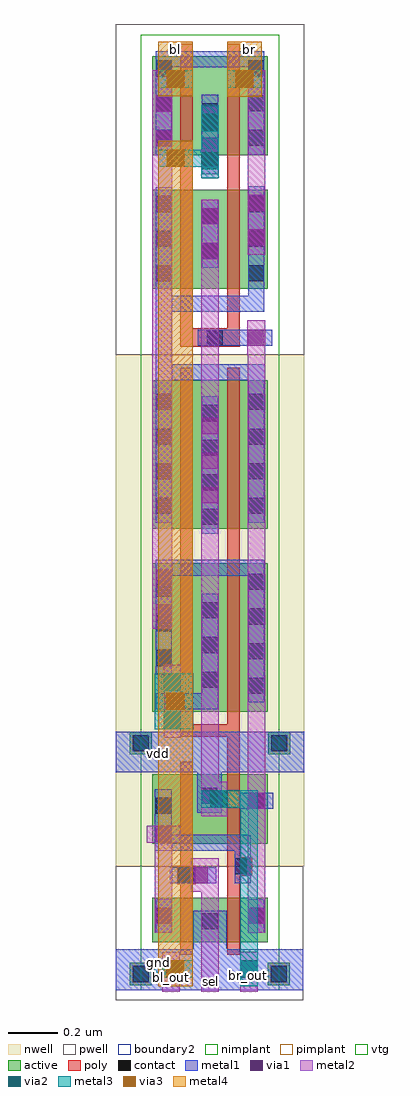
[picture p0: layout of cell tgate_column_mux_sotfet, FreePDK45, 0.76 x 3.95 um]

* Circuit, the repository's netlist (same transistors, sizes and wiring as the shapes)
************************************************************************
* auCdl Netlist:
* 
* Library Name:  openram_sot
* Top Cell Name: tgate_column_mux_sotfet
* View Name:     schematic
* Netlisted on:  Mar 27 04:17:46 2021
************************************************************************

*.EQUATION
*.SCALE METER
*.MEGA
.PARAM



************************************************************************
* Library Name: openram_sot
* Cell Name:    tgate_column_mux_sotfet
* View Name:    schematic
************************************************************************

.SUBCKT tgate_column_mux_sotfet bl br bl_out br_out sel gnd vdd
MM5 br_out sel_buf br gnd NMOS_VTG W=800n L=50n m=1
MM2 bl_out sel_buf bl gnd NMOS_VTG W=800n L=50n m=1
MM0 sel_buf sel_bar gnd gnd NMOS_VTG W=180.0n L=50n m=1
MM12 sel_bar sel gnd gnd NMOS_VTG W=180.0n L=50n m=1
MM4 br_out sel_bar br vdd PMOS_VTG W=1.2u L=50n m=1
MM3 bl_out sel_bar bl vdd PMOS_VTG W=1.2u L=50n m=1
MM1 sel_buf sel_bar vdd vdd PMOS_VTG W=280.0n L=50n m=1
MM11 sel_bar sel vdd vdd PMOS_VTG W=280.0n L=50n m=1
.ENDS

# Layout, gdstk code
from math import pi, radians
import gdstk
lib = gdstk.Library(unit=1e-6, precision=5e-10)
def R(c, l, rs):  # rectangles x0, y0, x1, y1
    for r in rs: c.add(gdstk.rectangle(r[:2], r[2:], *l))
def A(c, l, x, y, w, h, nx, ny, dx, dy):  # array of equal rectangles
    R(c, l, [(x+i*dx, y+j*dy, x+i*dx+w, y+j*dy+h) for i in range(nx) for j in range(ny)])
active = (1, 0)
pwell = (2, 0)
nwell = (3, 0)
nimplant = (4, 0)
pimplant = (5, 0)
vtg = (6, 0)
poly = (9, 0)
contact = (10, 0)
metal1 = (11, 0)
via1 = (12, 0)
metal2 = (13, 0)
via2 = (14, 0)
metal3 = (15, 0)
via3 = (16, 0)
metal4 = (17, 0)
boundary2 = (239, 0)

m2_m1_cdns_619142141420 = lib.new_cell('M2_M1_CDNS_619142141420')
R(m2_m1_cdns_619142141420, metal1, [(-0.0325,-0.0675,0.0325,0.0675)])
R(m2_m1_cdns_619142141420, via1, [(-0.0325,-0.0325,0.0325,0.0325)])
R(m2_m1_cdns_619142141420, metal2, [(-0.0675,-0.035,0.0675,0.035)])

m2_m1_cdns_619142141421 = lib.new_cell('M2_M1_CDNS_619142141421')
R(m2_m1_cdns_619142141421, metal1, [(-0.0325,-0.0675,0.0325,0.0675)])
R(m2_m1_cdns_619142141421, via1, [(-0.0325,-0.0325,0.0325,0.0325)])
R(m2_m1_cdns_619142141421, metal2, [(-0.035,-0.0675,0.035,0.0675)])

m2_m1_cdns_619142141422 = lib.new_cell('M2_M1_CDNS_619142141422')
R(m2_m1_cdns_619142141422, metal1, [(-0.0675,-0.0325,0.0675,0.0325)])
R(m2_m1_cdns_619142141422, via1, [(-0.0325,-0.0325,0.0325,0.0325)])
R(m2_m1_cdns_619142141422, metal2, [(-0.035,-0.0675,0.035,0.0675)])

m3_m2_cdns_619142141423 = lib.new_cell('M3_M2_CDNS_619142141423')
R(m3_m2_cdns_619142141423, metal2, [(-0.035,-0.1475,0.035,0.1475)])
R(m3_m2_cdns_619142141423, via2, [(-0.035,-0.1125,0.035,-0.0425), (-0.035,0.0425,0.035,0.1125)])
R(m3_m2_cdns_619142141423, metal3, [(-0.035,-0.1475,0.035,0.1475)])

m3_m2_cdns_619142141424 = lib.new_cell('M3_M2_CDNS_619142141424')
R(m3_m2_cdns_619142141424, metal2, [(-0.035,-0.1475,0.035,0.1475)])
R(m3_m2_cdns_619142141424, via2, [(-0.035,-0.1125,0.035,-0.0425), (-0.035,0.0425,0.035,0.1125)])
R(m3_m2_cdns_619142141424, metal3, [(-0.07,-0.1125,0.07,0.1125)])

m3_m2_cdns_619142141425 = lib.new_cell('M3_M2_CDNS_619142141425')
R(m3_m2_cdns_619142141425, metal2, [(-0.035,-0.07,0.035,0.07)])
R(m3_m2_cdns_619142141425, via2, [(-0.035,-0.035,0.035,0.035)])
R(m3_m2_cdns_619142141425, metal3, [(-0.035,-0.07,0.035,0.07)])

m1_p_cdns_619142141426 = lib.new_cell('M1_P_CDNS_619142141426')
R(m1_p_cdns_619142141426, active, [(-0.045,-0.2475,0.045,0.2475)])
R(m1_p_cdns_619142141426, pimplant, [(-0.045,-0.2475,0.045,0.2475)])
A(m1_p_cdns_619142141426, contact, -0.0325, -0.2425, 0.065, 0.065, 1, 4, 0, 0.14)
R(m1_p_cdns_619142141426, metal1, [(-0.0325,-0.2775,0.0325,0.2775)])

m1_p_cdns_619142141427 = lib.new_cell('M1_P_CDNS_619142141427')
R(m1_p_cdns_619142141427, active, [(-0.045,-0.1775,0.045,0.1775)])
R(m1_p_cdns_619142141427, pimplant, [(-0.045,-0.1775,0.045,0.1775)])
A(m1_p_cdns_619142141427, contact, -0.0325, -0.1725, 0.065, 0.065, 1, 3, 0, 0.14)
R(m1_p_cdns_619142141427, metal1, [(-0.0325,-0.2075,0.0325,0.2075)])

m1_n_cdns_619142141428 = lib.new_cell('M1_N_CDNS_619142141428')
R(m1_n_cdns_619142141428, active, [(-0.045,-0.1775,0.045,0.1775)])
R(m1_n_cdns_619142141428, nimplant, [(-0.045,-0.1775,0.045,0.1775)])
A(m1_n_cdns_619142141428, contact, -0.0325, -0.1725, 0.065, 0.065, 1, 3, 0, 0.14)
R(m1_n_cdns_619142141428, metal1, [(-0.0325,-0.2075,0.0325,0.2075)])

m2_m1_cdns_619142141429 = lib.new_cell('M2_M1_CDNS_619142141429')
R(m2_m1_cdns_619142141429, metal1, [(-0.0325,-0.1375,0.0325,0.1375)])
R(m2_m1_cdns_619142141429, via1, [(-0.0325,-0.1025,0.0325,-0.0375), (-0.0325,0.0375,0.0325,0.1025)])
R(m2_m1_cdns_619142141429, metal2, [(-0.035,-0.1375,0.035,0.1375)])

m1_n_cdns_6191421414210 = lib.new_cell('M1_N_CDNS_6191421414210')
R(m1_n_cdns_6191421414210, active, [(-0.045,-0.1075,0.045,0.1075)])
R(m1_n_cdns_6191421414210, nimplant, [(-0.045,-0.1075,0.045,0.1075)])
R(m1_n_cdns_6191421414210, contact, [(-0.0325,-0.1025,0.0325,-0.0375), (-0.0325,0.0375,0.0325,0.1025)])
R(m1_n_cdns_6191421414210, metal1, [(-0.0325,-0.1375,0.0325,0.1375)])

m2_m1_cdns_6191421414211 = lib.new_cell('M2_M1_CDNS_6191421414211')
R(m2_m1_cdns_6191421414211, metal1, [(-0.0325,-0.2075,0.0325,0.2075)])
A(m2_m1_cdns_6191421414211, via1, -0.0325, -0.1725, 0.065, 0.065, 1, 3, 0, 0.14)
R(m2_m1_cdns_6191421414211, metal2, [(-0.035,-0.2075,0.035,0.2075)])

m4_m3_cdns_6191421414212 = lib.new_cell('M4_M3_CDNS_6191421414212')
R(m4_m3_cdns_6191421414212, metal3, [(-0.07,-0.035,0.07,0.035)])
R(m4_m3_cdns_6191421414212, via3, [(-0.035,-0.035,0.035,0.035)])
R(m4_m3_cdns_6191421414212, metal4, [(-0.07,-0.07,0.07,0.07)])

m3_m2_cdns_6191421414213 = lib.new_cell('M3_M2_CDNS_6191421414213')
R(m3_m2_cdns_6191421414213, metal2, [(-0.035,-0.07,0.035,0.07)])
R(m3_m2_cdns_6191421414213, via2, [(-0.035,-0.035,0.035,0.035)])
R(m3_m2_cdns_6191421414213, metal3, [(-0.07,-0.035,0.07,0.035)])

tgate_column_mux_sotfet = lib.new_cell('tgate_column_mux_sotfet')
R(tgate_column_mux_sotfet, active, [(-0.045,0.02,0.045,0.11), (0.5125,0.02,0.6025,0.11), (0.0475,0.1925,0.5125,0.3725), (0.235,0.2325,0.325,0.3225), (0.4225,0.2325,0.5125,0.3225), (0.0475,0.2825,0.1375,0.3725), (0.0475,0.5925,0.5125,0.8725), (-0.045,0.9525,0.045,1.0425), (0.515,0.9525,0.605,1.0425), (0.0475,1.125,0.5125,1.725), (0.0475,1.865,0.5125,2.465), (0.0475,2.835,0.5125,3.235), (0.0475,3.375,0.5125,3.775)])
R(tgate_column_mux_sotfet, pwell, [(-0.1,-0.04,0.6575,0.5), (-0.1,2.5675,0.66,3.905)])
R(tgate_column_mux_sotfet, nwell, [(-0.1,0.5,0.66,2.5675)])
R(tgate_column_mux_sotfet, nimplant, [(0.0475,0.1925,0.5125,0.3725), (-0.045,0.9525,0.045,1.0425), (0.515,0.9525,0.605,1.0425), (0.0475,2.835,0.5125,3.235), (0.0475,3.375,0.5125,3.775)])
R(tgate_column_mux_sotfet, pimplant, [(-0.045,0.02,0.045,0.11), (0.5125,0.02,0.6025,0.11), (0.0475,0.5925,0.5125,0.8725), (0.0475,1.125,0.5125,1.725), (0.0475,1.865,0.5125,2.465)])
R(tgate_column_mux_sotfet, vtg, [(0,0,0.56,3.8625)])
R(tgate_column_mux_sotfet, poly, [(0.16,0.1425,0.21,0.9225), (0.35,0.1425,0.4,1.055), (0.1475,0.4275,0.2225,0.5025), (0.375,0.4625,0.45,0.5375), (0.35,0.9975,0.4,2.515), (0.16,1.025,0.4,1.075), (0.16,1.025,0.21,2.515), (0.16,2.6,0.4,2.675), (0.16,2.6,0.21,3.825), (0.35,2.6,0.4,3.825)])
R(tgate_column_mux_sotfet, contact, [(-0.0325,0.0325,0.0325,0.0975), (0.525,0.0325,0.59,0.0975), (0.2475,0.245,0.3125,0.31), (0.06,0.2675,0.125,0.3325), (0.435,0.2675,0.5,0.3325), (0.1525,0.4325,0.2175,0.4975), (0.38,0.4675,0.445,0.5325), (0.06,0.7125,0.125,0.7775), (0.435,0.7325,0.5,0.7975), (0.245,0.7525,0.31,0.8175), (-0.0325,0.965,0.0325,1.03), (0.5275,0.965,0.5925,1.03), (0.2675,2.605,0.3325,2.67)])
R(tgate_column_mux_sotfet, metal1, [(-0.1,0,0.6575,0.165), (0.2125,0.0725,0.3475,0.32), (0.06,0.2325,0.125,0.3675), (0.435,0.2325,0.5,0.3675), (0.1175,0.4325,0.2525,0.4975), (0.38,0.4325,0.445,0.6275), (0.0575,0.5625,0.445,0.6275), (0.0575,0.6175,0.125,0.8125), (0.2275,0.7175,0.3275,0.945), (0.4,0.7325,0.535,0.7975), (-0.1,0.88,0.66,1.045), (0.07,1.135,0.3125,1.2), (0.06,1.675,0.5,1.74), (0.06,2.3625,0.125,2.865), (0.435,2.435,0.5,2.53), (0.06,2.465,0.5025,2.53), (0.23,2.605,0.5025,2.67), (0.06,2.7425,0.5,2.8075), (0.435,2.7425,0.5,2.905), (0.06,3.73,0.5,3.795)])
R(tgate_column_mux_sotfet, metal2, [(0.0875,-0.0075,0.1575,0.155), (0.245,-0.0075,0.315,0.5325), (0.4025,-0.0075,0.4725,0.155), (0.0575,0.2325,0.1275,0.625), (0.4325,0.2325,0.5025,1.18), (0.245,0.7025,0.315,3.195), (0.4325,1.1725,0.5025,2.7075), (0.0475,1.46,0.1275,3.7175), (0.4325,2.9725,0.5025,3.7175)])
R(tgate_column_mux_sotfet, metal3, [(0.4025,0.05,0.4725,0.65), (0.4025,0.58,0.4725,0.8075), (0.245,0.7375,0.4725,0.8075), (0.0575,1.055,0.2125,1.28), (0.1175,1.0975,0.2125,1.2375), (0.07,3.3275,0.315,3.3975), (0.245,3.3275,0.315,3.49)])
R(tgate_column_mux_sotfet, metal4, [(0.07,0.015,0.21,3.4325), (0.35,3.61,0.49,3.8325), (0.07,3.6125,0.21,3.8325)])
R(tgate_column_mux_sotfet, boundary2, [(0,0,0.56,3.8625)])
tgate_column_mux_sotfet.add(gdstk.Reference(m2_m1_cdns_619142141420, (0.465,2.6375), rotation=pi/2))
tgate_column_mux_sotfet.add(gdstk.Reference(m2_m1_cdns_619142141420, (0.0925,0.63)))
tgate_column_mux_sotfet.add(gdstk.Reference(m2_m1_cdns_619142141420, (0.2375,0.465), rotation=pi/2))
tgate_column_mux_sotfet.add(gdstk.Reference(m2_m1_cdns_619142141420, (0.4675,0.765), rotation=pi/2))
tgate_column_mux_sotfet.add(gdstk.Reference(m2_m1_cdns_619142141421, (0.0925,0.3)))
tgate_column_mux_sotfet.add(gdstk.Reference(m2_m1_cdns_619142141421, (0.4675,0.3)))
tgate_column_mux_sotfet.add(gdstk.Reference(m2_m1_cdns_619142141422, (0.1275,1.1675), rotation=pi))
tgate_column_mux_sotfet.add(gdstk.Reference(m3_m2_cdns_619142141423, (0.28,3.43)))
tgate_column_mux_sotfet.add(gdstk.Reference(m3_m2_cdns_619142141424, (0.1275,1.1675)))
tgate_column_mux_sotfet.add(gdstk.Reference(m3_m2_cdns_619142141425, (0.42,3.6825), rotation=pi/2))
tgate_column_mux_sotfet.add(gdstk.Reference(m3_m2_cdns_619142141425, (0.14,3.6825), rotation=pi/2))
tgate_column_mux_sotfet.add(gdstk.Reference(m3_m2_cdns_619142141425, (0.4375,0.085)))
tgate_column_mux_sotfet.add(gdstk.Reference(m1_p_cdns_619142141426, (0.0925,2.1675)))
tgate_column_mux_sotfet.add(gdstk.Reference(m1_p_cdns_619142141426, (0.28,2.1225)))
tgate_column_mux_sotfet.add(gdstk.Reference(m1_p_cdns_619142141426, (0.4675,2.1675)))
tgate_column_mux_sotfet.add(gdstk.Reference(m1_p_cdns_619142141426, (0.4675,1.44)))
tgate_column_mux_sotfet.add(gdstk.Reference(m1_p_cdns_619142141427, (0.0925,1.4825)))
tgate_column_mux_sotfet.add(gdstk.Reference(m1_p_cdns_619142141427, (0.28,1.395)))
tgate_column_mux_sotfet.add(gdstk.Reference(m1_n_cdns_619142141428, (0.0925,3.585)))
tgate_column_mux_sotfet.add(gdstk.Reference(m1_n_cdns_619142141428, (0.4675,3.585)))
tgate_column_mux_sotfet.add(gdstk.Reference(m1_n_cdns_619142141428, (0.4675,3.0375)))
tgate_column_mux_sotfet.add(gdstk.Reference(m1_n_cdns_619142141428, (0.0925,3.0375)))
tgate_column_mux_sotfet.add(gdstk.Reference(m2_m1_cdns_619142141429, (0.0925,3.5125)))
tgate_column_mux_sotfet.add(gdstk.Reference(m2_m1_cdns_619142141429, (0.28,3.435)))
tgate_column_mux_sotfet.add(gdstk.Reference(m2_m1_cdns_619142141429, (0.28,3.0575)))
tgate_column_mux_sotfet.add(gdstk.Reference(m2_m1_cdns_619142141429, (0.4675,3.1125)))
tgate_column_mux_sotfet.add(gdstk.Reference(m2_m1_cdns_619142141429, (0.0925,1.5975)))
tgate_column_mux_sotfet.add(gdstk.Reference(m1_n_cdns_6191421414210, (0.28,3.4825)))
tgate_column_mux_sotfet.add(gdstk.Reference(m1_n_cdns_6191421414210, (0.28,3.0575)))
tgate_column_mux_sotfet.add(gdstk.Reference(m2_m1_cdns_6191421414211, (0.28,2.14)))
tgate_column_mux_sotfet.add(gdstk.Reference(m4_m3_cdns_6191421414212, (0.42,3.6825)))
tgate_column_mux_sotfet.add(gdstk.Reference(m4_m3_cdns_6191421414212, (0.14,3.6825)))
tgate_column_mux_sotfet.add(gdstk.Reference(m4_m3_cdns_6191421414212, (0.14,1.1675)))
tgate_column_mux_sotfet.add(gdstk.Reference(m4_m3_cdns_6191421414212, (0.14,3.3625), rotation=pi))
tgate_column_mux_sotfet.add(gdstk.Reference(m4_m3_cdns_6191421414212, (0.14,0.085)))
tgate_column_mux_sotfet.add(gdstk.Reference(m3_m2_cdns_6191421414213, (0.315,0.7725)))
tgate_column_mux_sotfet.add(gdstk.Reference(m3_m2_cdns_6191421414213, (0.1225,0.085)))
tgate_column_mux_sotfet.add(gdstk.Label('vdd', (0.07,0.955), layer=11, texttype=0))
tgate_column_mux_sotfet.add(gdstk.Label('gnd', (0.07,0.11), layer=11, texttype=0))
tgate_column_mux_sotfet.add(gdstk.Label('br_out', (0.4375,0.06), layer=13, texttype=0))
tgate_column_mux_sotfet.add(gdstk.Label('sel', (0.28,0.035), layer=13, texttype=0))
tgate_column_mux_sotfet.add(gdstk.Label('bl_out', (0.125,0.05), layer=13, texttype=0))
tgate_column_mux_sotfet.add(gdstk.Label('bl', (0.1425,3.8), layer=17, texttype=0))
tgate_column_mux_sotfet.add(gdstk.Label('br', (0.44,3.8), layer=17, texttype=0))

lib.write_gds('tgate_column_mux_sotfet.gds')
